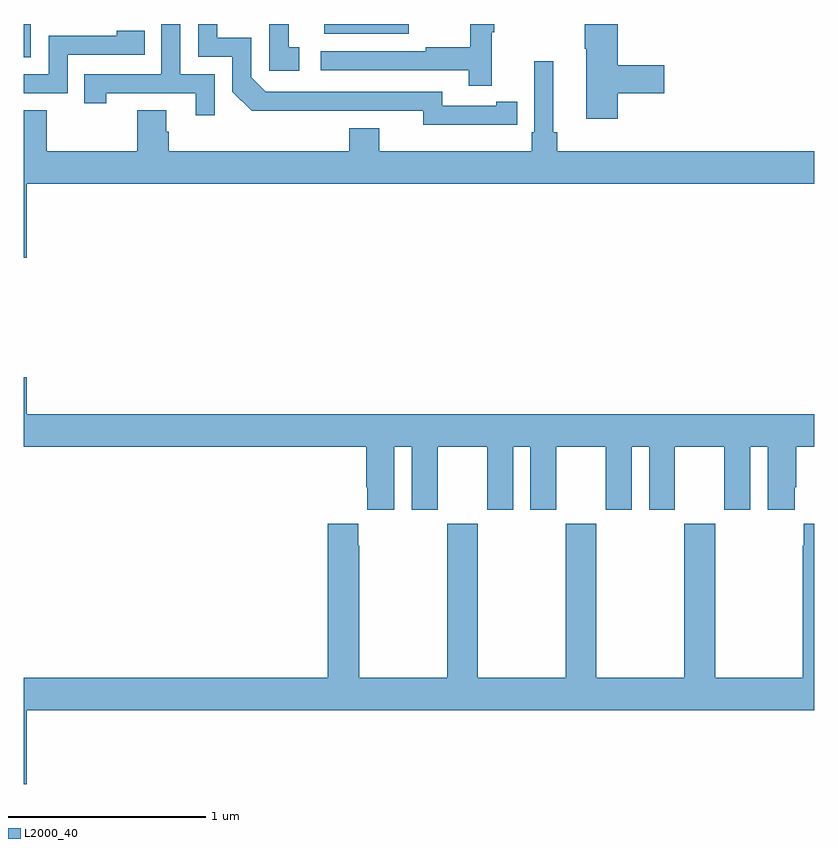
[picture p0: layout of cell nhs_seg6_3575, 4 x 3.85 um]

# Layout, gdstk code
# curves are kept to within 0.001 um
import gdstk
lib = gdstk.Library(unit=1e-6, precision=1e-09)
def R(c, l, rs):  # rectangles x0, y0, x1, y1
    for r in rs: c.add(gdstk.rectangle(r[:2], r[2:], *l))
def P(c, l, *ps):  # polygons
    for p in ps: c.add(gdstk.Polygon(p, *l))
L2000_40 = (2000, 40)

nhs_seg6_3575 = lib.new_cell('nhs_seg6_3575')
R(nhs_seg6_3575, L2000_40, [(321,925.332,321.036,925.5), (322.52,925.451,322.948,925.5)])
P(nhs_seg6_3575, L2000_40, [(323.39,924.99),(323.498,924.99),(323.498,925.106),(323.39,925.106),(323.39,925.086),(323.118,925.086),(323.118,925.158),(322.224,925.158),(322.152,925.23),(322.152,925.431),(321.979,925.431),(321.979,925.5),(321.882,925.5),(321.882,925.335),(322.056,925.335),(322.056,925.158),(322.154,925.061),(323.022,925.062),(323.022,924.989)],
  [(321.966,925.245),(321.792,925.245),(321.792,925.5),(321.696,925.5),(321.696,925.245),(321.307,925.245),(321.307,925.098),(321.418,925.098),(321.418,925.149),(321.869,925.149),(321.869,925.038),(321.966,925.038)],
  [(322.393,925.383),(322.34,925.383),(322.34,925.5),(322.242,925.5),(322.242,925.263),(322.393,925.263)],
  [(324.005,925.15),(324.241,925.15),(324.241,925.292),(324.005,925.292),(324.005,925.5),(323.839,925.5),(323.839,925.375),(323.846,925.375),(323.846,925.02),(324.005,925.02)],
  [(323.369,925.459),(323.38,925.459),(323.38,925.5),(323.259,925.5),(323.259,925.382),(323.035,925.382),(323.035,925.362),(322.503,925.362),(322.503,925.266),(323.251,925.266),(323.251,925.188),(323.369,925.188)],
  [(321.222,925.344),(321.611,925.344),(321.611,925.467),(321.471,925.467),(321.471,925.44),(321.126,925.44),(321.126,925.245),(321,925.245),(321,925.149),(321.222,925.149)],
  [(321.016,924.692),(325,924.692),(325,924.856),(323.699,924.856),(323.699,924.952),(323.68,924.952),(323.68,925.312),(323.583,925.312),(323.583,924.952),(323.57,924.952),(323.57,924.856),(322.798,924.856),(322.798,924.973),(322.646,924.973),(322.646,924.856),(321.734,924.856),(321.734,924.954),(321.721,924.954),(321.721,925.064),(321.574,925.064),(321.574,924.856),(321.117,924.856),(321.117,925.064),(321,925.064),(321,924.318),(321.016,924.318)],
  [(322.876,923.36),(322.964,923.36),(322.964,923.043),(323.095,923.043),(323.095,923.36),(323.345,923.36),(323.345,923.043),(323.476,923.043),(323.476,923.36),(323.564,923.36),(323.564,923.043),(323.695,923.043),(323.695,923.36),(323.945,923.36),(323.945,923.043),(324.076,923.043),(324.076,923.36),(324.164,923.36),(324.164,923.043),(324.295,923.043),(324.295,923.36),(324.545,923.36),(324.545,923.043),(324.676,923.043),(324.676,923.36),(324.764,923.36),(324.764,923.043),(324.901,923.043),(324.901,923.155),(324.908,923.155),(324.908,923.36),(325,923.36),(325,923.524),(321.016,923.524),(321.016,923.713),(321,923.713),(321,923.36),(322.733,923.36),(322.733,923.155),(322.739,923.155),(322.739,923.043),(322.876,923.043)],
  [(321.016,922.028),(325,922.028),(325,922.972),(324.947,922.972),(324.947,922.859),(324.943,922.859),(324.943,922.192),(324.498,922.192),(324.498,922.972),(324.343,922.972),(324.343,922.192),(323.898,922.192),(323.898,922.972),(323.743,922.972),(323.743,922.192),(323.298,922.192),(323.298,922.972),(323.143,922.972),(323.143,922.192),(322.698,922.192),(322.698,922.859),(322.693,922.859),(322.693,922.972),(322.538,922.972),(322.538,922.192),(321,922.192),(321,921.654),(321.016,921.654)])

lib.write_gds('nhs_seg6_3575.gds')
